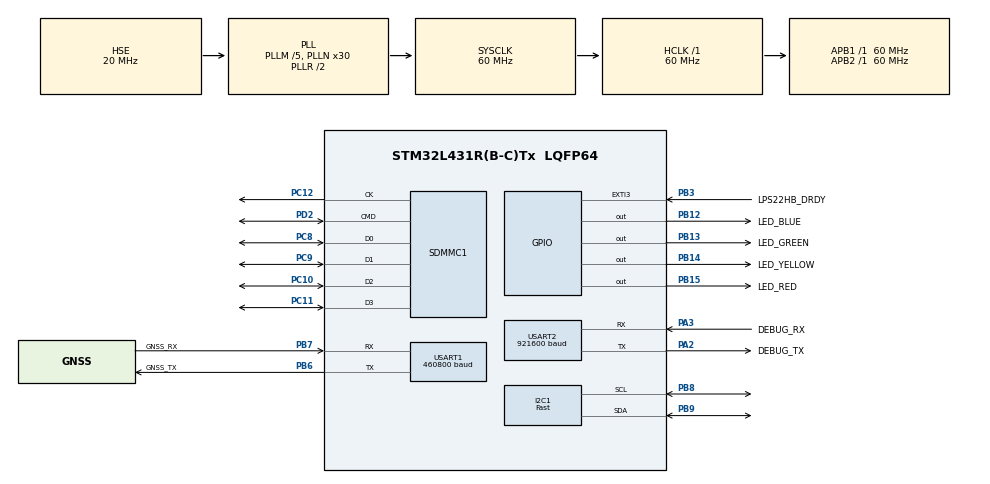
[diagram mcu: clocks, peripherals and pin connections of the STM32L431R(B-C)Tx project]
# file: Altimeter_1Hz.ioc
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Dma.Request0=USART1_RX
Dma.Request1=USART2_TX
Dma.USART1_RX.0.Direction=DMA_PERIPH_TO_MEMORY
Dma.USART1_RX.0.Instance=DMA1_Channel5
Dma.USART1_RX.0.MemDataAlignment=DMA_MDATAALIGN_BYTE
Dma.USART1_RX.0.MemInc=DMA_MINC_ENABLE
Dma.USART1_RX.0.Mode=DMA_CIRCULAR
Dma.USART1_RX.0.PeriphDataAlignment=DMA_PDATAALIGN_BYTE
Dma.USART1_RX.0.PeriphInc=DMA_PINC_DISABLE
Dma.USART1_RX.0.Priority=DMA_PRIORITY_LOW
Dma.USART2_TX.1.Direction=DMA_MEMORY_TO_PERIPH
Dma.USART2_TX.1.Instance=DMA1_Channel7
Dma.USART2_TX.1.MemDataAlignment=DMA_MDATAALIGN_BYTE
Dma.USART2_TX.1.MemInc=DMA_MINC_ENABLE
Dma.USART2_TX.1.Mode=DMA_NORMAL
Dma.USART2_TX.1.PeriphDataAlignment=DMA_PDATAALIGN_BYTE
Dma.USART2_TX.1.PeriphInc=DMA_PINC_DISABLE
Dma.USART2_TX.1.Priority=DMA_PRIORITY_LOW
FATFS._MAX_SS=4096
FATFS._USE_STRFUNC=1
I2C1.I2C_Speed_Mode=I2C_Fast
I2C1.Timing=0x00501E6C
Mcu.Family=STM32L4
Mcu.Name=STM32L431R(B-C)Tx
Mcu.Package=LQFP64
NVIC.DMA1_Channel5_IRQn=true\:0\:0\:false\:false\:true\:false\:true
NVIC.DMA1_Channel7_IRQn=true\:0\:0\:false\:false\:true\:false\:true
NVIC.EXTI3_IRQn=true\:0\:0\:false\:false\:true\:true\:true
NVIC.PriorityGroup=NVIC_PRIORITYGROUP_4
NVIC.TIM6_DAC_IRQn=true\:0\:0\:false\:false\:true\:true\:true
NVIC.USART1_IRQn=true\:0\:0\:false\:false\:true\:true\:true
PA2.GPIO_Label=DEBUG_TX
PA2.GPIO_ModeDefaultPP=GPIO_MODE_AF_PP
PA2.GPIO_PuPd=GPIO_NOPULL
PA2.GPIO_Speed=GPIO_SPEED_FREQ_VERY_HIGH
PA2.Mode=Asynchronous
PA2.Signal=USART2_TX
PA3.GPIO_Label=DEBUG_RX
PA3.GPIO_ModeDefaultPP=GPIO_MODE_AF_PP
PA3.GPIO_PuPd=GPIO_NOPULL
PA3.GPIO_Speed=GPIO_SPEED_FREQ_VERY_HIGH
PA3.Mode=Asynchronous
PA3.Signal=USART2_RX
PB12.GPIO_Label=LED_BLUE
PB12.GPIO_ModeDefaultOutputPP=GPIO_MODE_OUTPUT_PP
PB12.GPIO_PuPd=GPIO_NOPULL
PB12.GPIO_Speed=GPIO_SPEED_FREQ_LOW
PB12.PinState=GPIO_PIN_RESET
PB12.Signal=GPIO_Output
PB13.GPIO_Label=LED_GREEN
PB13.GPIO_ModeDefaultOutputPP=GPIO_MODE_OUTPUT_PP
PB13.GPIO_PuPd=GPIO_NOPULL
PB13.GPIO_Speed=GPIO_SPEED_FREQ_LOW
PB13.PinState=GPIO_PIN_RESET
PB13.Signal=GPIO_Output
PB14.GPIO_Label=LED_YELLOW
PB14.GPIO_ModeDefaultOutputPP=GPIO_MODE_OUTPUT_PP
PB14.GPIO_PuPd=GPIO_NOPULL
PB14.GPIO_Speed=GPIO_SPEED_FREQ_LOW
PB14.PinState=GPIO_PIN_RESET
PB14.Signal=GPIO_Output
PB15.GPIO_Label=LED_RED
PB15.GPIO_ModeDefaultOutputPP=GPIO_MODE_OUTPUT_PP
PB15.GPIO_PuPd=GPIO_NOPULL
PB15.GPIO_Speed=GPIO_SPEED_FREQ_LOW
PB15.PinState=GPIO_PIN_RESET
PB15.Signal=GPIO_Output
PB3\ (JTDO-TRACESWO).GPIO_Label=LPS22HB_DRDY
PB3\ (JTDO-TRACESWO).GPIO_ModeDefaultEXTI=GPIO_MODE_IT_RISING
PB3\ (JTDO-TRACESWO).GPIO_PuPd=GPIO_PULLDOWN
PB3\ (JTDO-TRACESWO).Signal=GPXTI3
PB6.GPIO_FM6=__NULL
PB6.GPIO_Label=GNSS_TX
PB6.GPIO_ModeDefaultPP=GPIO_MODE_AF_PP
PB6.GPIO_PuPd=GPIO_NOPULL
PB6.GPIO_Speed=GPIO_SPEED_FREQ_VERY_HIGH
PB6.Mode=Asynchronous
PB6.Signal=USART1_TX
PB7.GPIO_FM7=__NULL
PB7.GPIO_Label=GNSS_RX
PB7.GPIO_ModeDefaultPP=GPIO_MODE_AF_PP
PB7.GPIO_PuPd=GPIO_NOPULL
PB7.GPIO_Speed=GPIO_SPEED_FREQ_VERY_HIGH
PB7.Mode=Asynchronous
PB7.Signal=USART1_RX
PB8.Mode=I2C
PB8.Signal=I2C1_SCL
PB9.Mode=I2C
PB9.Signal=I2C1_SDA
PC10.Mode=SD_4_bits_Wide_bus
PC10.Signal=SDMMC1_D2
PC11.Mode=SD_4_bits_Wide_bus
PC11.Signal=SDMMC1_D3
PC12.Mode=SD_4_bits_Wide_bus
PC12.Signal=SDMMC1_CK
PC14-OSC32_IN\ (PC14).Mode=LSE-External-Oscillator
PC14-OSC32_IN\ (PC14).Signal=RCC_OSC32_IN
PC15-OSC32_OUT\ (PC15).Mode=LSE-External-Oscillator
PC15-OSC32_OUT\ (PC15).Signal=RCC_OSC32_OUT
PC8.Mode=SD_4_bits_Wide_bus
PC8.Signal=SDMMC1_D0
PC9.Mode=SD_4_bits_Wide_bus
PC9.Signal=SDMMC1_D1
PD2.Mode=SD_4_bits_Wide_bus
PD2.Signal=SDMMC1_CMD
PH0-OSC_IN\ (PH0).Mode=HSE-External-Oscillator
PH0-OSC_IN\ (PH0).Signal=RCC_OSC_IN
PH1-OSC_OUT\ (PH1).Mode=HSE-External-Oscillator
PH1-OSC_OUT\ (PH1).Signal=RCC_OSC_OUT
ProjectManager.HeapSize=0x2000
ProjectManager.StackSize=0x4000
ProjectManager.TargetToolchain=TrueSTUDIO
RCC.ADCFreq_Value=48000000
RCC.AHBFreq_Value=60000000
RCC.APB1Freq_Value=60000000
RCC.APB1TimFreq_Value=60000000
RCC.APB2Freq_Value=60000000
RCC.APB2TimFreq_Value=60000000
RCC.CortexFreq_Value=60000000
RCC.HCLKFreq_Value=60000000
RCC.HSE_VALUE=20000000
RCC.HSI48_VALUE=48000000
RCC.HSI_VALUE=16000000
RCC.MSI_VALUE=4000000
RCC.PLLM=5
RCC.PLLN=30
RCC.PLLSAI1N=24
RCC.PLLSourceVirtual=RCC_PLLSOURCE_HSE
RCC.SYSCLKFreq_VALUE=60000000
RCC.SYSCLKSource=RCC_SYSCLKSOURCE_PLLCLK
RCC.VCOOutputFreq_Value=120000000
SDMMC1.ClockDiv=2
TIM2.Period=4294967295
TIM2.Prescaler=59999
TIM6.Period=10000
TIM6.Prescaler=7999
USART1.BaudRate=460800
USART1.VirtualMode-Asynchronous=VM_ASYNC
USART2.BaudRate=921600
USART2.MSBFirstParam=ADVFEATURE_MSBFIRST_DISABLE
USART2.VirtualMode-Asynchronous=VM_ASYNC
VP_FATFS_VS_SDIO.Mode=SDIO
VP_TIM2_VS_ClockSourceINT.Mode=Internal
VP_TIM6_VS_ClockSourceINT.Mode=Enable_Timer
board=custom

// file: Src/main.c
/* USER CODE BEGIN Header */
/**
  ******************************************************************************
  * @file           : main.c
  * @brief          : Main program body
  ******************************************************************************
  * @attention
  *
  * <h2><center>&copy; Copyright (c) 2019 STMicroelectronics.
  * All rights reserved.</center></h2>
  *
  * This software component is licensed by ST under BSD 3-Clause license,
  * the "License"; You may not use this file except in compliance with the
  * License. You may obtain a copy of the License at:
  *                        opensource.org/licenses/BSD-3-Clause
  *
  ******************************************************************************
  */
/* USER CODE END Header */

#include "main.h"
#include "fatfs.h"

/* USER CODE BEGIN Includes */
#include <stdio.h>
#include "LPS22HB.h"
#include "uart_rx_dma.h"
#include "../uart_wrapper/uart_wrapper.h"
#include <string.h>
/* USER CODE END Includes */

/* USER CODE BEGIN PTD */
typedef struct {
	uint32_t tim;
	uint32_t baro;
	int16_t temp;
} EnvData_Container_t;

/* USER CODE END PTD */

I2C_HandleTypeDef hi2c1;

SD_HandleTypeDef hsd1;

TIM_HandleTypeDef htim2;
TIM_HandleTypeDef htim6;

UART_HandleTypeDef huart1;
UART_HandleTypeDef huart2;
DMA_HandleTypeDef hdma_usart1_rx;
DMA_HandleTypeDef hdma_usart2_tx;

/* USER CODE BEGIN PV */
FATFS fatfs;
FIL fileSys;
FIL fileEnv;
//FIL file_GNSS;

char logdir_Sys[20] = "SYSLOG.TXT";
char logdir_Baro[20] = "BAROLOG.CSV";
//char logdir_GNSS[20] = "GNSSLOG.CSV";

LPS22HB_t lps22hb;
EnvData_Container_t envdata;
__IO ITStatus isEnvDataReady = RESET;

/* USER CODE END PV */

void SystemClock_Config(void);
static void MX_GPIO_Init(void);
static void MX_DMA_Init(void);
static void MX_I2C1_Init(void);
static void MX_SDMMC1_SD_Init(void);
static void MX_TIM2_Init(void);
static void MX_TIM6_Init(void);
static void MX_USART1_UART_Init(void);
static void MX_USART2_UART_Init(void);
/* USER CODE BEGIN PFP */
void System_Init(void);
void System_Config_FileDirectory(void);
int System_Get_BootCount(void);
void LED_Flash_OnePulse(GPIO_TypeDef* port, uint16_t pin, uint16_t span_ms);

/* USER CODE END PFP */

int main(void)
{
  /* USER CODE BEGIN 1 */
  char buff[64];
  uint32_t timA, timB, timC;
  /* USER CODE END 1 */

  /* MCU Configuration--------------------------------------------------------*/

  /* Reset of all peripherals, Initializes the Flash interface and the Systick. */
  HAL_Init();

  /* Configure the system clock */
  SystemClock_Config();

  /* Initialize all configured peripherals */
  MX_GPIO_Init();
  MX_DMA_Init();
  MX_I2C1_Init();
  MX_SDMMC1_SD_Init();
  MX_TIM2_Init();
  MX_TIM6_Init();
  MX_USART1_UART_Init();
  MX_USART2_UART_Init();
  MX_FATFS_Init();
  /* USER CODE BEGIN 2 */

  HAL_NVIC_DisableIRQ(EXTI3_IRQn);
  System_Init();
  HAL_NVIC_EnableIRQ(EXTI3_IRQn);
  /* USER CODE END 2 */

  /* Infinite loop */
  /* USER CODE BEGIN WHILE */
  while (1)
  {
    if(isEnvDataReady == SET) {
    	timA = TIM2->CNT;
		isEnvDataReady = RESET;

		HAL_GPIO_TogglePin(LED_BLUE_GPIO_Port, LED_BLUE_Pin);

		LPS22HB_Update_Data(&lps22hb);
		envdata.baro = LPS22HB_Get_PressureRaw(&lps22hb);
		envdata.temp = LPS22HB_Get_TemperatureRaw(&lps22hb);

		sprintf(buff, "%lu,%lu,%d\r\n", envdata.tim, envdata.baro, envdata.temp);
		f_puts(buff, &fileEnv);
		xputs(buff);
		timB = TIM2->CNT;	//　	about 0.7ms from timA, sometimes 3ms
		f_sync(&fileEnv);
		timC = TIM2->CNT;	//	about 6.5ms from timA, sometimes 20ms

		xprintf("process time: %lu %lu\r\n", timB-timA, timC-timA);
    }

    /* USER CODE END WHILE */

  }
}

void SystemClock_Config(void)
{
  RCC_OscInitTypeDef RCC_OscInitStruct = {0};
  RCC_ClkInitTypeDef RCC_ClkInitStruct = {0};
  RCC_PeriphCLKInitTypeDef PeriphClkInit = {0};

  /** Initializes the CPU, AHB and APB busses clocks
  */
  RCC_OscInitStruct.OscillatorType = RCC_OSCILLATORTYPE_HSE;
  RCC_OscInitStruct.HSEState = RCC_HSE_ON;
  RCC_OscInitStruct.PLL.PLLState = RCC_PLL_ON;
  RCC_OscInitStruct.PLL.PLLSource = RCC_PLLSOURCE_HSE;
  RCC_OscInitStruct.PLL.PLLM = 5;
  RCC_OscInitStruct.PLL.PLLN = 30;
  RCC_OscInitStruct.PLL.PLLP = RCC_PLLP_DIV7;
  RCC_OscInitStruct.PLL.PLLQ = RCC_PLLQ_DIV2;
  RCC_OscInitStruct.PLL.PLLR = RCC_PLLR_DIV2;
  if (HAL_RCC_OscConfig(&RCC_OscInitStruct) != HAL_OK)
  {
    Error_Handler();
  }
  /** Initializes the CPU, AHB and APB busses clocks
  */
  RCC_ClkInitStruct.ClockType = RCC_CLOCKTYPE_HCLK|RCC_CLOCKTYPE_SYSCLK
                              |RCC_CLOCKTYPE_PCLK1|RCC_CLOCKTYPE_PCLK2;
  RCC_ClkInitStruct.SYSCLKSource = RCC_SYSCLKSOURCE_PLLCLK;
  RCC_ClkInitStruct.AHBCLKDivider = RCC_SYSCLK_DIV1;
  RCC_ClkInitStruct.APB1CLKDivider = RCC_HCLK_DIV1;
  RCC_ClkInitStruct.APB2CLKDivider = RCC_HCLK_DIV1;

  if (HAL_RCC_ClockConfig(&RCC_ClkInitStruct, FLASH_LATENCY_3) != HAL_OK)
  {
    Error_Handler();
  }
  PeriphClkInit.PeriphClockSelection = RCC_PERIPHCLK_USART1|RCC_PERIPHCLK_USART2
                              |RCC_PERIPHCLK_I2C1|RCC_PERIPHCLK_SDMMC1;
  PeriphClkInit.Usart1ClockSelection = RCC_USART1CLKSOURCE_PCLK2;
  PeriphClkInit.Usart2ClockSelection = RCC_USART2CLKSOURCE_PCLK1;
  PeriphClkInit.I2c1ClockSelection = RCC_I2C1CLKSOURCE_PCLK1;
  PeriphClkInit.Sdmmc1ClockSelection = RCC_SDMMC1CLKSOURCE_PLLSAI1;
  PeriphClkInit.PLLSAI1.PLLSAI1Source = RCC_PLLSOURCE_HSE;
  PeriphClkInit.PLLSAI1.PLLSAI1M = 5;
  PeriphClkInit.PLLSAI1.PLLSAI1N = 24;
  PeriphClkInit.PLLSAI1.PLLSAI1P = RCC_PLLP_DIV7;
  PeriphClkInit.PLLSAI1.PLLSAI1Q = RCC_PLLQ_DIV2;
  PeriphClkInit.PLLSAI1.PLLSAI1R = RCC_PLLR_DIV2;
  PeriphClkInit.PLLSAI1.PLLSAI1ClockOut = RCC_PLLSAI1_48M2CLK;
  if (HAL_RCCEx_PeriphCLKConfig(&PeriphClkInit) != HAL_OK)
  {
    Error_Handler();
  }
  /** Configure the main internal regulator output voltage
  */
  if (HAL_PWREx_ControlVoltageScaling(PWR_REGULATOR_VOLTAGE_SCALE1) != HAL_OK)
  {
    Error_Handler();
  }
}

static void MX_I2C1_Init(void)
{

  hi2c1.Instance = I2C1;
  hi2c1.Init.Timing = 0x00501E6C;
  hi2c1.Init.OwnAddress1 = 0;
  hi2c1.Init.AddressingMode = I2C_ADDRESSINGMODE_7BIT;
  hi2c1.Init.DualAddressMode = I2C_DUALADDRESS_DISABLE;
  hi2c1.Init.OwnAddress2 = 0;
  hi2c1.Init.OwnAddress2Masks = I2C_OA2_NOMASK;
  hi2c1.Init.GeneralCallMode = I2C_GENERALCALL_DISABLE;
  hi2c1.Init.NoStretchMode = I2C_NOSTRETCH_DISABLE;
  if (HAL_I2C_Init(&hi2c1) != HAL_OK)
  {
    Error_Handler();
  }
  /** Configure Analogue filter
  */
  if (HAL_I2CEx_ConfigAnalogFilter(&hi2c1, I2C_ANALOGFILTER_ENABLE) != HAL_OK)
  {
    Error_Handler();
  }
  /** Configure Digital filter
  */
  if (HAL_I2CEx_ConfigDigitalFilter(&hi2c1, 0) != HAL_OK)
  {
    Error_Handler();
  }

}

static void MX_SDMMC1_SD_Init(void)
{

  hsd1.Instance = SDMMC1;
  hsd1.Init.ClockEdge = SDMMC_CLOCK_EDGE_RISING;
  hsd1.Init.ClockBypass = SDMMC_CLOCK_BYPASS_DISABLE;
  hsd1.Init.ClockPowerSave = SDMMC_CLOCK_POWER_SAVE_DISABLE;
  hsd1.Init.BusWide = SDMMC_BUS_WIDE_1B;
  hsd1.Init.HardwareFlowControl = SDMMC_HARDWARE_FLOW_CONTROL_DISABLE;
  hsd1.Init.ClockDiv = 2;

}

static void MX_TIM2_Init(void)
{

  TIM_ClockConfigTypeDef sClockSourceConfig = {0};
  TIM_MasterConfigTypeDef sMasterConfig = {0};

  htim2.Instance = TIM2;
  htim2.Init.Prescaler = 59999;
  htim2.Init.CounterMode = TIM_COUNTERMODE_UP;
  htim2.Init.Period = 4294967295;
  htim2.Init.ClockDivision = TIM_CLOCKDIVISION_DIV1;
  htim2.Init.AutoReloadPreload = TIM_AUTORELOAD_PRELOAD_DISABLE;
  if (HAL_TIM_Base_Init(&htim2) != HAL_OK)
  {
    Error_Handler();
  }
  sClockSourceConfig.ClockSource = TIM_CLOCKSOURCE_INTERNAL;
  if (HAL_TIM_ConfigClockSource(&htim2, &sClockSourceConfig) != HAL_OK)
  {
    Error_Handler();
  }
  sMasterConfig.MasterOutputTrigger = TIM_TRGO_RESET;
  sMasterConfig.MasterSlaveMode = TIM_MASTERSLAVEMODE_DISABLE;
  if (HAL_TIMEx_MasterConfigSynchronization(&htim2, &sMasterConfig) != HAL_OK)
  {
    Error_Handler();
  }

}

static void MX_TIM6_Init(void)
{

  TIM_MasterConfigTypeDef sMasterConfig = {0};

  htim6.Instance = TIM6;
  htim6.Init.Prescaler = 7999;
  htim6.Init.CounterMode = TIM_COUNTERMODE_UP;
  htim6.Init.Period = 10000;
  htim6.Init.AutoReloadPreload = TIM_AUTORELOAD_PRELOAD_DISABLE;
  if (HAL_TIM_Base_Init(&htim6) != HAL_OK)
  {
    Error_Handler();
  }
  sMasterConfig.MasterOutputTrigger = TIM_TRGO_RESET;
  sMasterConfig.MasterSlaveMode = TIM_MASTERSLAVEMODE_DISABLE;
  if (HAL_TIMEx_MasterConfigSynchronization(&htim6, &sMasterConfig) != HAL_OK)
  {
    Error_Handler();
  }

}

static void MX_USART1_UART_Init(void)
{

  huart1.Instance = USART1;
  huart1.Init.BaudRate = 460800;
  huart1.Init.WordLength = UART_WORDLENGTH_8B;
  huart1.Init.StopBits = UART_STOPBITS_1;
  huart1.Init.Parity = UART_PARITY_NONE;
  huart1.Init.Mode = UART_MODE_TX_RX;
  huart1.Init.HwFlowCtl = UART_HWCONTROL_NONE;
  huart1.Init.OverSampling = UART_OVERSAMPLING_16;
  huart1.Init.OneBitSampling = UART_ONE_BIT_SAMPLE_DISABLE;
  huart1.AdvancedInit.AdvFeatureInit = UART_ADVFEATURE_NO_INIT;
  if (HAL_UART_Init(&huart1) != HAL_OK)
  {
    Error_Handler();
  }

}

static void MX_USART2_UART_Init(void)
{

  huart2.Instance = USART2;
  huart2.Init.BaudRate = 921600;
  huart2.Init.WordLength = UART_WORDLENGTH_8B;
  huart2.Init.StopBits = UART_STOPBITS_1;
  huart2.Init.Parity = UART_PARITY_NONE;
  huart2.Init.Mode = UART_MODE_TX_RX;
  huart2.Init.HwFlowCtl = UART_HWCONTROL_NONE;
  huart2.Init.OverSampling = UART_OVERSAMPLING_16;
  huart2.Init.OneBitSampling = UART_ONE_BIT_SAMPLE_DISABLE;
  huart2.AdvancedInit.AdvFeatureInit = UART_ADVFEATURE_NO_INIT;
  if (HAL_UART_Init(&huart2) != HAL_OK)
  {
    Error_Handler();
  }

}

static void MX_DMA_Init(void)
{
  /* DMA controller clock enable */
  __HAL_RCC_DMA1_CLK_ENABLE();

  /* DMA interrupt init */
  /* DMA1_Channel5_IRQn interrupt configuration */
  HAL_NVIC_SetPriority(DMA1_Channel5_IRQn, 0, 0);
  HAL_NVIC_EnableIRQ(DMA1_Channel5_IRQn);
  /* DMA1_Channel7_IRQn interrupt configuration */
  HAL_NVIC_SetPriority(DMA1_Channel7_IRQn, 0, 0);
  HAL_NVIC_EnableIRQ(DMA1_Channel7_IRQn);

}

static void MX_GPIO_Init(void)
{
  GPIO_InitTypeDef GPIO_InitStruct = {0};

  /* GPIO Ports Clock Enable */
  __HAL_RCC_GPIOC_CLK_ENABLE();
  __HAL_RCC_GPIOH_CLK_ENABLE();
  __HAL_RCC_GPIOA_CLK_ENABLE();
  __HAL_RCC_GPIOB_CLK_ENABLE();
  __HAL_RCC_GPIOD_CLK_ENABLE();

  /*Configure GPIO pin Output Level */
  HAL_GPIO_WritePin(GPIOB, LED_BLUE_Pin|LED_GREEN_Pin|LED_YELLOW_Pin|LED_RED_Pin, GPIO_PIN_RESET);

  /*Configure GPIO pins : LED_BLUE_Pin LED_GREEN_Pin LED_YELLOW_Pin LED_RED_Pin */
  GPIO_InitStruct.Pin = LED_BLUE_Pin|LED_GREEN_Pin|LED_YELLOW_Pin|LED_RED_Pin;
  GPIO_InitStruct.Mode = GPIO_MODE_OUTPUT_PP;
  GPIO_InitStruct.Pull = GPIO_NOPULL;
  GPIO_InitStruct.Speed = GPIO_SPEED_FREQ_LOW;
  HAL_GPIO_Init(GPIOB, &GPIO_InitStruct);

  /*Configure GPIO pin : LPS22HB_DRDY_Pin */
  GPIO_InitStruct.Pin = LPS22HB_DRDY_Pin;
  GPIO_InitStruct.Mode = GPIO_MODE_IT_RISING;
  GPIO_InitStruct.Pull = GPIO_PULLDOWN;
  HAL_GPIO_Init(LPS22HB_DRDY_GPIO_Port, &GPIO_InitStruct);

  /* EXTI interrupt init*/
  HAL_NVIC_SetPriority(EXTI3_IRQn, 0, 0);
  HAL_NVIC_EnableIRQ(EXTI3_IRQn);

}

/* USER CODE BEGIN 4 */
void System_Init(void) {
	FRESULT fRes;

	//	start timer for time record
	HAL_TIM_Base_Start(&htim2);

	uart_init(&huart2);

	//	initialize LPS22HB
	LPS22HB_Set_Handle(&lps22hb, &hi2c1);
	LPS22HB_Set_Address(&lps22hb, LPS22HB_ADDR_L);
	LPS22HB_Init(&lps22hb, LPS22HB_ODR_1HZ);
	LPS22HB_Set_FIFO(&lps22hb, LPS22HB_FIFO_DISABLE, LPS22HB_FIFOMODE_BYPASS);
	LPS22HB_Set_DRDY(&lps22hb, LPS22HB_DRDY_ENABLE);

	LPS22HB_Update_Data(&lps22hb);

	//	mount sd card
	fRes = f_mount(&fatfs, SDPath, 1);
	if(fRes == FR_OK) {
		//	ok
		LED_Flash_OnePulse(LED_BLUE_GPIO_Port, LED_BLUE_Pin, 500);
		xprintf("[FatFs] mount succees\r\n");
	} else {
		//	fail → reset
		LED_Flash_OnePulse(LED_RED_GPIO_Port, LED_RED_Pin, 500);
		xprintf("[FatFs] mount failure\r\n");
		NVIC_SystemReset();
	}

	//	Configure log file directory
	System_Config_FileDirectory();

	//	open file for systemlog
	fRes = f_open(&fileSys, logdir_Sys, FA_OPEN_APPEND | FA_WRITE);
	if(fRes == FR_OK) {
		//	ok
		LED_Flash_OnePulse(LED_GREEN_GPIO_Port, LED_GREEN_Pin, 500);
		xprintf("[FatFs] syslog fopen succees\r\n");
	} else {
		//	fail → reset
		LED_Flash_OnePulse(LED_RED_GPIO_Port, LED_RED_Pin, 500);
		xprintf("[FatFs] syslog fopen failure\r\n");
		NVIC_SystemReset();
	}

	//	open file for baro/temp logging
	fRes = f_open(&fileEnv, logdir_Baro, FA_OPEN_APPEND | FA_WRITE);
	if(fRes == FR_OK) {
		//	ok
		LED_Flash_OnePulse(LED_GREEN_GPIO_Port, LED_GREEN_Pin, 500);
		xprintf("[FatFs] baro fopen succees\r\n");
	} else {
		//	fail → reset
		LED_Flash_OnePulse(LED_RED_GPIO_Port, LED_RED_Pin, 500);
		xprintf("[FatFs] baro fopen failure\r\n");
		NVIC_SystemReset();
	}

	/*/	open file for gnss logging
	fRes = f_open(&file_GNSS, logdir_GNSS, FA_OPEN_APPEND | FA_WRITE);
	if(fRes == FR_OK) {
		//	ok
		LED_Flash_OnePulse(LED_GREEN_GPIO_Port, LED_GREEN_Pin, 500);
		xprintf("[FatFs] gnss fopen succees\r\n");
	} else {
		//	fail → reset
		LED_Flash_OnePulse(LED_RED_GPIO_Port, LED_RED_Pin, 500);
		xprintf("[FatFs] gnss fopen failure\r\n");
		NVIC_SystemReset();
	}*/

	/* These uart interrupts halt any ongoing transfer if an error occurs, disable them */
	/* Disable the UART Parity Error Interrupt */
	__HAL_UART_DISABLE_IT(&huart1, UART_IT_PE);
	/* Disable the UART Error Interrupt: (Frame error, noise error, overrun error) */
	__HAL_UART_DISABLE_IT(&huart1, UART_IT_ERR);

	//	uart rx dma config
	msgrx_init(&huart1);

	//	start interrupt timer for reading barometer
	//__HAL_TIM_CLEAR_FLAG(&htim6, TIM_FLAG_UPDATE);
	//HAL_TIM_Base_Start_IT(&htim6);
	//	for only gnss (not for use now)
	//HAL_TIM_Base_Start_IT(&htim7);

}

void System_Config_FileDirectory(void)
{
	int bootcount;
	char logdir[8];

	bootcount = System_Get_BootCount();
	if ( bootcount < 0 ) {
		xprintf("[LogSys]bootcount check failure!\r\n");

		sprintf(logdir, "LOG");
		xprintf("[LogSys]log directory was set to \"LOG\" \r\n");
	} else {
		xprintf("[LogSys]bootcount is %d\r\n", bootcount);

		sprintf(logdir, "LOG_%03d", bootcount);
		xprintf("[LogSys]log directory was set to \"LOG_%03d\"\r\n", bootcount);
	}

	f_mkdir(logdir);

	sprintf(logdir_Sys, "LOG_%03d/SYSLOG.TXT", bootcount);
	sprintf(logdir_Baro, "LOG_%03d/BAROLOG.CSV", bootcount);
	//sprintf(logdir_GNSS, "LOG_%03d/GNSSLOG.CSV", bootcount);
}

/**
 * 	Check system boot count from config file in sdcard
 */
int System_Get_BootCount(void)
{
    FIL fileRead;
    FIL fileWrite;
    FRESULT res;

    char buff[3] = {};
    int bootcount = 0;

    res = f_open(&fileRead, "CONFIG/BOOTCNT.TXT", FA_READ );
    if ( FR_OK != res ) {
    	//	nothing file
    	res = f_mkdir("CONFIG");
    	if ( FR_OK == res || FR_EXIST == res ) {
        	//	completed make the directory or exist
        	res = f_open(&fileWrite, "CONFIG/BOOTCNT.TXT", FA_CREATE_ALWAYS | FA_WRITE );
        	if ( FR_OK != res ) {
        		//	failed to make file
        		xprintf("filesystem error!\r\n");
            	return -1;
        	} else {
        		//	succeed to make file
        		f_printf(&fileWrite, "%d", bootcount);  //  bootcount = 0
        	}
        }
    } else {
    	//	"BOOTCNT.TXT" file exist
        f_gets((TCHAR *)buff, 4	, &fileRead);
        bootcount = atoi(buff);
        bootcount++;

        f_close(&fileRead);

        res = f_open(&fileWrite, "CONFIG/BOOTCNT.TXT", FA_CREATE_ALWAYS | FA_WRITE );
    }

    f_printf(&fileWrite, "%d", bootcount);
    f_close(&fileWrite);

    return bootcount;
}

void HAL_GPIO_EXTI_Callback(uint16_t GPIO_Pin) {
	if(GPIO_Pin == LPS22HB_DRDY_Pin) {
		// TODO: TIM2を読むコード+LPS22HBから気圧を取得する？
		envdata.tim = TIM2->CNT;
		isEnvDataReady = SET;
	}
}

void LED_Flash_OnePulse(GPIO_TypeDef* port, uint16_t pin, uint16_t span_ms) {
	HAL_GPIO_WritePin(port, pin, GPIO_PIN_SET);
	HAL_Delay(span_ms);
	HAL_GPIO_WritePin(port, pin, GPIO_PIN_RESET);
}
/* USER CODE END 4 */

void Error_Handler(void)
{
}

/************************ (C) COPYRIGHT STMicroelectronics *****END OF FILE****/
